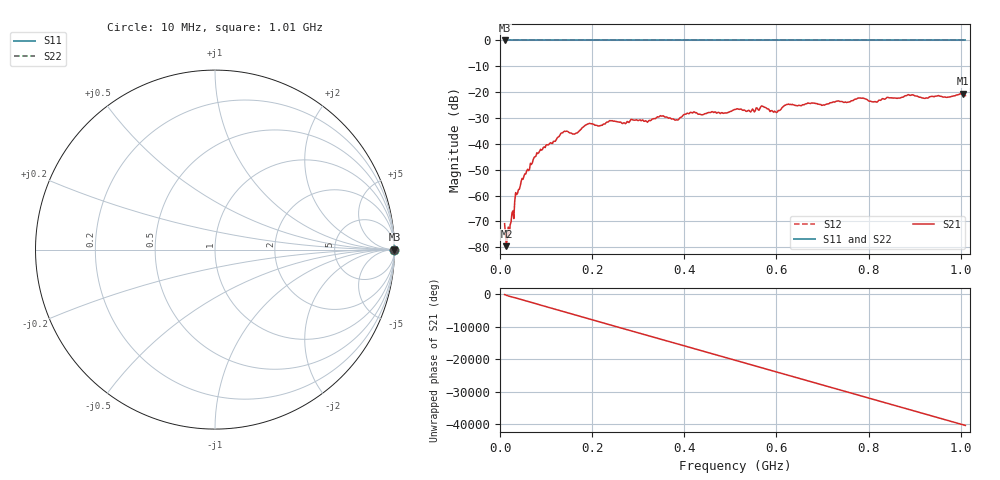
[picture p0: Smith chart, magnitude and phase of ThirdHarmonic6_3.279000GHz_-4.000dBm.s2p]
! 8/17/2025 10:09:53 AM
! C:\ANRITSUVNA\TEMP\TEMP.S2P
! CHANNEL.1
! TR.MEASUREMENT
! RAW.DATA
! RF.CORRECTION.OFF
! AVERAGING.OFF
! IF.BANDWIDTH: 5KHZ
! SWEEPTYPE:  FREQ.SWEEP(Linear)
! Reference Plane Port Info
! PORT:  PORT1  PORT2
! DISTANCE:  0  m  0  m
! TIME:  0  s  0  s
! PHASE.OFFSET:  0  deg.  0  deg.
! LOSS:  0  dB  0  dB
! REF.LOSS:  0  dB  0  dB
! REF.FREQ:  0  Hz  0  Hz
! Power Info
! POWER:  -20  dBm  -20  dBm
! EFF.POWER:  -20  dBm  -20  dBm
! SOURCE.ATTEN:  0  dB  0  dB
! TEST.ATTEN:  0  dB  0  dB
# GHZ S RI R 50.0
! FREQ.GHZ  S11RE  S11IM  S21RE  S21IM  S12RE  S12IM  S22RE  S22IM
!; PortSelection: Port_12
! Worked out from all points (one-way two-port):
!   501 points, 10 MHz to 1.01 GHz, reference 50 ohm
!   highest |S21| = -20.55 dB at 1.004 GHz (marker M1); lowest = -79.6 dB at 14 MHz (marker M2)
!   lowest |S11| = 0.0 dB at 10 MHz (marker M3)
!   |S11| at or under -10 dB: nowhere
!   |S22| runs from 0.0 to 0.0 dB; largest |S21 - S12| = 1.1
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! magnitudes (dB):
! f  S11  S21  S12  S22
! 10 MHz  0.0  -70.9  0.0  0.0
! 14 MHz  0.0  -79.6  0.0  0.0
! 18 MHz  0.0  -72.2  0.0  0.0
! 36 MHz  0.0  -59.7  0.0  0.0
! 50 MHz  0.0  -53.7  0.0  0.0
! 76 MHz  0.0  -45.0  0.0  0.0
! 136 MHz  0.0  -35.7  0.0  0.0
! 162 MHz  0.0  -36.2  0.0  0.0
! 178 MHz  0.0  -33.8  0.0  0.0
! 194 MHz  0.0  -32.0  0.0  0.0
! 318 MHz  0.0  -31.3  0.0  0.0
! 344 MHz  0.0  -29.7  0.0  0.0
! 384 MHz  0.0  -30.7  0.0  0.0
! 416 MHz  0.0  -27.9  0.0  0.0
! 510 MHz  0.0  -26.7  0.0  0.0
! 570 MHz  0.0  -25.5  0.0  0.0
! 598 MHz  0.0  -27.6  0.0  0.0
! 622 MHz  0.0  -24.8  0.0  0.0
! 678 MHz  0.0  -24.2  0.0  0.0
! 844 MHz  0.0  -22.2  0.0  0.0
! 1.004 GHz  0.0  -20.6  0.0  0.0
! 1.01 GHz  0.0  -21.3  0.0  0.0
